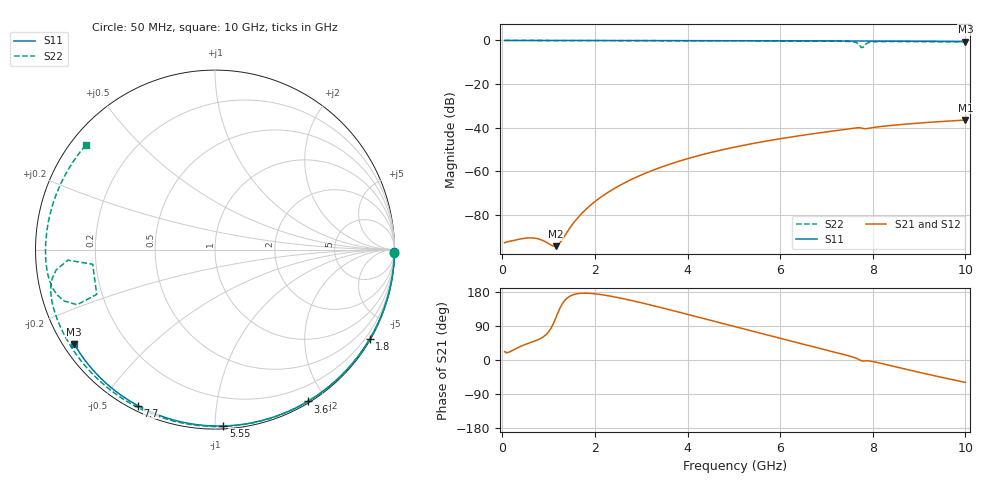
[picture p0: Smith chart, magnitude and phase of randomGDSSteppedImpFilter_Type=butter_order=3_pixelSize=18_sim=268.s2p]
! freq	dB(S11)	phase(S11)	dB(S12)	phase(S12)
!  dB(S21)	phase(S21)	dB(S22)	phase(S22)
!S-par simulation data
#  GHz  S  DB  R 50
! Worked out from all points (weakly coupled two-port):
!   200 points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, 50 MHz to 10 GHz, reference 50 ohm
!   highest |S21| = -36.52 dB at 10 GHz (marker M1); lowest = -94.3 dB at 1.15 GHz (marker M2)
!   lowest |S11| = -0.5 dB at 10 GHz (marker M3), VSWR 35.15, Z = 1.55 - j15.2 ohm
!   |S11| at or under -10 dB: nowhere
!   |S22| runs from -3.3 to 0.0 dB; largest |S21 - S12| = 0
!   S11 on the Smith chart (normalised r, x): 50 MHz: open; 1.8 GHz: 0.03, -3.72; 3.6 GHz: 0.02, -1.78; 5.55 GHz: 0.02, -1.05; 7.7 GHz: 0.02, -0.62; 10 GHz: 0.03, -0.30
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0.05  -0.00 -0.9  -92.76 22.1  -92.76 22.1  -0.00 -1.2
1.15  -0.02 -19.4  -94.34 109.4  -94.34 109.4  -0.03 -27.2
1.65  -0.03 -27.6  -80.83 175.5  -80.83 175.5  -0.05 -38.7
1.75  -0.04 -29.2  -78.58 176.3  -78.58 176.3  -0.05 -41.0
1.8  -0.04 -30.1  -77.55 176.3  -77.55 176.3  -0.05 -42.1
2.1  -0.04 -34.9  -72.29 173.2  -72.29 173.2  -0.06 -48.9
2.5  -0.05 -41.4  -66.90 164.7  -66.90 164.7  -0.07 -57.9
3.4  -0.07 -55.5  -58.34 139.1  -58.34 139.1  -0.10 -77.5
3.6  -0.08 -58.6  -56.86 133.0  -56.86 133.0  -0.11 -81.7
5.05  -0.12 -80.2  -48.77 87.0  -48.77 87.0  -0.17 -111.7
5.55  -0.14 -87.3  -46.71 71.3  -46.71 71.3  -0.20 -121.9
6.7  -0.20 -103.1  -42.82 35.5  -42.82 35.5  -0.29 -145.6
7.5  -0.25 -113.7  -40.53 10.3  -40.53 10.3  -0.49 -165.4
7.65  -0.26 -115.7  -40.09 4.2  -40.09 4.2  -0.99 -172.7
7.7  -0.27 -116.4  -40.00 1.4  -40.00 1.4  -1.71 -175.9
7.75  -0.27 -117.0  -40.12 -1.6  -40.12 -1.6  -3.27 -173.2
7.8  -0.27 -117.7  -40.43 -2.9  -40.43 -2.9  -3.04 -159.3
7.85  -0.28 -118.3  -40.51 -2.2  -40.51 -2.2  -1.64 -158.2
8  -0.29 -120.3  -39.98 -4.0  -39.98 -4.0  -0.66 -166.1
8.35  -0.32 -124.8  -39.08 -13.9  -39.08 -13.9  -0.50 -176.8
9.2  -0.40 -135.8  -37.57 -38.0  -37.57 -38.0  -0.56 162.1
10  -0.49 -146.1  -36.52 -59.2  -36.52 -59.2  -0.67 141.2
